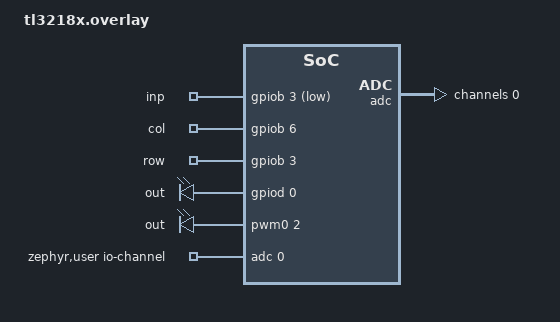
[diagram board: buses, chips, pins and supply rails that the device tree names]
/ {
	/* Short TL_Key3 (J6 pin 21) to ground */
	key_pool {
		compatible = "gpio-keys";

		inp {
			gpios = <&gpiob 3 (GPIO_ACTIVE_LOW | GPIO_PULL_UP)>,
					<&gpiob 5 (GPIO_ACTIVE_LOW | GPIO_PULL_UP)>;
		};
	};

	key_matrix {
		compatible = "gpio-keys";

		col {
			gpios = <&gpiob 6 GPIO_ACTIVE_HIGH>,
					<&gpiob 7 GPIO_ACTIVE_HIGH>;
		};

		row {
			gpios = <&gpiob 3 (GPIO_PULL_DOWN | GPIO_ACTIVE_HIGH)>,
					<&gpiob 5 (GPIO_PULL_DOWN | GPIO_ACTIVE_HIGH)>;
		};
	};

	led_pool {
		compatible = "gpio-leds";

		out {
			gpios = <&gpiod 0 GPIO_ACTIVE_HIGH>;
		};
	};

	pwm_pool {
		compatible = "pwm-leds";
		out {
			pwms = <&pwm0 2 PWM_MSEC(1) PWM_POLARITY_NORMAL>,
					<&pwm0 0 PWM_MSEC(1) PWM_POLARITY_NORMAL>,
					<&pwm0 1 PWM_MSEC(1) PWM_POLARITY_NORMAL>,
					<&pwm0 2 PWM_MSEC(1) PWM_POLARITY_NORMAL>;
		};
	};
	zephyr,user {
		/* adjust channel number according to pinmux in board.dts for adc demo. */
		io-channels = <&adc 0>;
	};
};

&pwm0 {
	/* On board RGB LEDs */
	pinctrl-ch0 = <&pwm_ch0_pb1_default>;
	pinctrl-ch1 = <&pwm_ch1_pb0_default>;
	pinctrl-ch2 = <&pwm_ch2_pb2_default>;
};

&pinctrl {
	pwm_ch0_pb1_default: pwm_ch0_pb1_default {
		pinmux = <TLX_PINMUX_SET(TLX_PORT_B, TLX_PIN_1, TL321X_FUNC_PWM0)>;
	};
	pwm_ch1_pb0_default: pwm_ch1_pb0_default {
		pinmux = <TLX_PINMUX_SET(TLX_PORT_B, TLX_PIN_0, TL321X_FUNC_PWM1)>;
	};
	pwm_ch2_pb2_default: pwm_ch2_pb2_default {
		pinmux = <TLX_PINMUX_SET(TLX_PORT_B, TLX_PIN_2, TL321X_FUNC_PWM2)>;
	};
};

&adc {
	/* the channel setting for adc demo */

	#address-cells = <1>;
	#size-cells = <0>;

	channel@0 {
		reg = <0>;
		zephyr,gain = "ADC_GAIN_1_4";
		zephyr,reference = "ADC_REF_INTERNAL";
		zephyr,acquisition-time = <ADC_ACQ_TIME_DEFAULT>;
		zephyr,resolution = <12>;
		zephyr,input-positive = <DT_ADC_VBAT>;
	};
};
